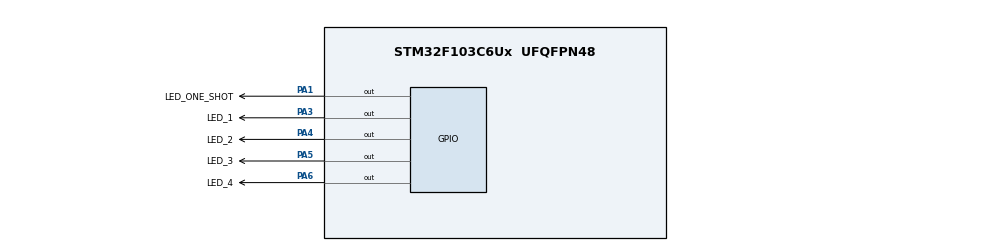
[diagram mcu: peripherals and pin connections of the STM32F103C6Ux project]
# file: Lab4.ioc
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Mcu.Family=STM32F1
Mcu.Name=STM32F103C6Ux
Mcu.Package=UFQFPN48
NVIC.PriorityGroup=NVIC_PRIORITYGROUP_4
NVIC.TIM2_IRQn=true\:0\:0\:false\:false\:true\:true\:true\:true
PA1.GPIO_Label=LED_ONE_SHOT
PA1.Signal=GPIO_Output
PA13.Mode=Serial_Wire
PA13.Signal=SYS_JTMS-SWDIO
PA14.Mode=Serial_Wire
PA14.Signal=SYS_JTCK-SWCLK
PA3.GPIO_Label=LED_1
PA3.Signal=GPIO_Output
PA4.GPIO_Label=LED_2
PA4.Signal=GPIO_Output
PA5.GPIO_Label=LED_3
PA5.Signal=GPIO_Output
PA6.GPIO_Label=LED_4
PA6.Signal=GPIO_Output
ProjectManager.HeapSize=0x200
ProjectManager.StackSize=0x400
ProjectManager.TargetToolchain=STM32CubeIDE
RCC.APB1Freq_Value=8000000
RCC.APB2Freq_Value=8000000
TIM2.Period=9
TIM2.Prescaler=7999
VP_TIM2_VS_ClockSourceINT.Mode=Internal
board=custom

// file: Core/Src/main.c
/* USER CODE BEGIN Header */
/**
 ******************************************************************************
 * @file           : main.c
 * @brief          : Main program body
 ******************************************************************************
 * @attention
 *
 * Copyright (c) 2022 STMicroelectronics.
 * All rights reserved.
 *
 * This software is licensed under terms that can be found in the LICENSE file
 * in the root directory of this software component.
 * If no LICENSE file comes with this software, it is provided AS-IS.
 *
 ******************************************************************************
 */
/* USER CODE END Header */
#include "main.h"

/* USER CODE BEGIN Includes */
#include "led.h"
#include "scheduler.h"
/* USER CODE END Includes */

TIM_HandleTypeDef htim2;

void SystemClock_Config(void);
static void MX_GPIO_Init(void);
static void MX_TIM2_Init(void);

/* USER CODE BEGIN 0 */

void led_one_shot()
{
    extern Led LED_ONE_SHOT;
    toggle_led(&LED_ONE_SHOT);
}

void led_1()
{
    extern Led LED_1;
    toggle_led(&LED_1);
}

void led_2()
{
    extern Led LED_2;
    toggle_led(&LED_2);
}

void led_3()
{
    extern Led LED_3;
    toggle_led(&LED_3);
}

void led_4()
{
    extern Led LED_4;
    toggle_led(&LED_4);
}

/* USER CODE END 0 */

int main(void)
{

    /* MCU Configuration--------------------------------------------------------*/

    /* Reset of all peripherals, Initializes the Flash interface and the Systick. */
    HAL_Init();

    /* Configure the system clock */
    SystemClock_Config();

    /* Initialize all configured peripherals */
    MX_GPIO_Init();
    MX_TIM2_Init();
    /* USER CODE BEGIN 2 */
    Scheduler_Init();
    Scheduler_Subscribe(&(Task){
        .func = led_one_shot,
        .period = 0,
        .delay = 3000,
        .runFlag = 0,
    });
    Scheduler_Subscribe(&(Task){
        .func = led_1,
        .period = 500,
        .delay = 500,
        .runFlag = 0,
    });
    Scheduler_Subscribe(&(Task){
        .func = led_2,
        .period = 1000,
        .delay = 500,
        .runFlag = 0,
    });
    Scheduler_Subscribe(&(Task){
        .func = led_3,
        .period = 1500,
        .delay = 500,
        .runFlag = 0,
    });
    Scheduler_Subscribe(&(Task){
        .func = led_4,
        .period = 2000,
        .delay = 500,
        .runFlag = 0,
    });
    HAL_TIM_Base_Start_IT(&htim2);
    /* USER CODE END 2 */

    /* Infinite loop */
    /* USER CODE BEGIN WHILE */
    while (1)
    {
        Scheduler_Dispatch();
        /* USER CODE END WHILE */

    }
}

void SystemClock_Config(void)
{
    RCC_OscInitTypeDef RCC_OscInitStruct = {0};
    RCC_ClkInitTypeDef RCC_ClkInitStruct = {0};

    /** Initializes the RCC Oscillators according to the specified parameters
     * in the RCC_OscInitTypeDef structure.
     */
    RCC_OscInitStruct.OscillatorType = RCC_OSCILLATORTYPE_HSI;
    RCC_OscInitStruct.HSIState = RCC_HSI_ON;
    RCC_OscInitStruct.HSICalibrationValue = RCC_HSICALIBRATION_DEFAULT;
    RCC_OscInitStruct.PLL.PLLState = RCC_PLL_NONE;
    if (HAL_RCC_OscConfig(&RCC_OscInitStruct) != HAL_OK)
    {
        Error_Handler();
    }

    /** Initializes the CPU, AHB and APB buses clocks
     */
    RCC_ClkInitStruct.ClockType = RCC_CLOCKTYPE_HCLK | RCC_CLOCKTYPE_SYSCLK | RCC_CLOCKTYPE_PCLK1 | RCC_CLOCKTYPE_PCLK2;
    RCC_ClkInitStruct.SYSCLKSource = RCC_SYSCLKSOURCE_HSI;
    RCC_ClkInitStruct.AHBCLKDivider = RCC_SYSCLK_DIV1;
    RCC_ClkInitStruct.APB1CLKDivider = RCC_HCLK_DIV1;
    RCC_ClkInitStruct.APB2CLKDivider = RCC_HCLK_DIV1;

    if (HAL_RCC_ClockConfig(&RCC_ClkInitStruct, FLASH_LATENCY_0) != HAL_OK)
    {
        Error_Handler();
    }
}

static void MX_TIM2_Init(void)
{

    TIM_ClockConfigTypeDef sClockSourceConfig = {0};
    TIM_MasterConfigTypeDef sMasterConfig = {0};

    htim2.Instance = TIM2;
    htim2.Init.Prescaler = 7999;
    htim2.Init.CounterMode = TIM_COUNTERMODE_UP;
    htim2.Init.Period = 9;
    htim2.Init.ClockDivision = TIM_CLOCKDIVISION_DIV1;
    htim2.Init.AutoReloadPreload = TIM_AUTORELOAD_PRELOAD_DISABLE;
    if (HAL_TIM_Base_Init(&htim2) != HAL_OK)
    {
        Error_Handler();
    }
    sClockSourceConfig.ClockSource = TIM_CLOCKSOURCE_INTERNAL;
    if (HAL_TIM_ConfigClockSource(&htim2, &sClockSourceConfig) != HAL_OK)
    {
        Error_Handler();
    }
    sMasterConfig.MasterOutputTrigger = TIM_TRGO_RESET;
    sMasterConfig.MasterSlaveMode = TIM_MASTERSLAVEMODE_DISABLE;
    if (HAL_TIMEx_MasterConfigSynchronization(&htim2, &sMasterConfig) != HAL_OK)
    {
        Error_Handler();
    }
}

static void MX_GPIO_Init(void)
{
    GPIO_InitTypeDef GPIO_InitStruct = {0};

    /* GPIO Ports Clock Enable */
    __HAL_RCC_GPIOA_CLK_ENABLE();

    /*Configure GPIO pin Output Level */
    HAL_GPIO_WritePin(GPIOA, LED_ONE_SHOT_Pin | LED_1_Pin | LED_2_Pin | LED_3_Pin | LED_4_Pin, GPIO_PIN_RESET);

    /*Configure GPIO pins : LED_ONE_SHOT_Pin LED_1_Pin LED_2_Pin LED_3_Pin
                             LED_4_Pin */
    GPIO_InitStruct.Pin = LED_ONE_SHOT_Pin | LED_1_Pin | LED_2_Pin | LED_3_Pin | LED_4_Pin;
    GPIO_InitStruct.Mode = GPIO_MODE_OUTPUT_PP;
    GPIO_InitStruct.Pull = GPIO_NOPULL;
    GPIO_InitStruct.Speed = GPIO_SPEED_FREQ_LOW;
    HAL_GPIO_Init(GPIOA, &GPIO_InitStruct);
}

void Error_Handler(void)
{
    __disable_irq();
    while (1)
    {
    }
}
